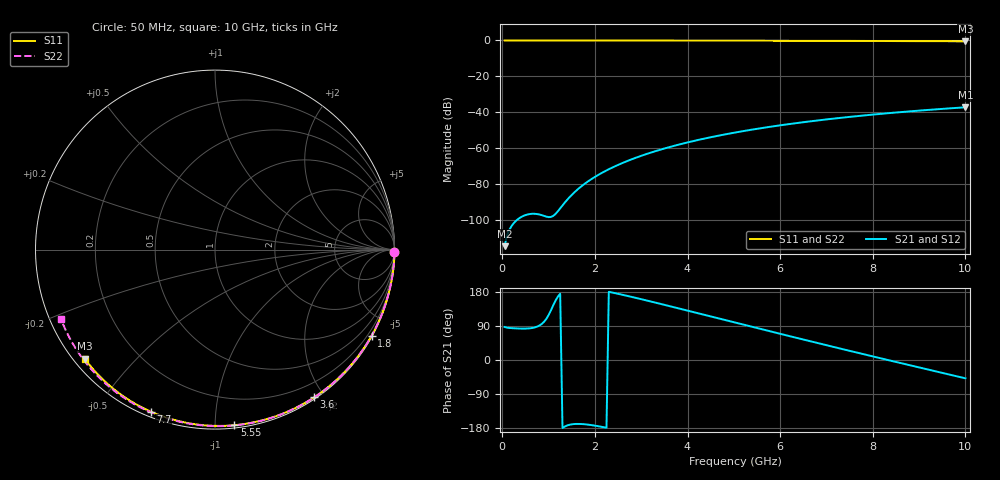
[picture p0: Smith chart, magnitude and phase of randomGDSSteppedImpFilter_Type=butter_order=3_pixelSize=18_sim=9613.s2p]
! freq	dB(S11)	phase(S11)	dB(S12)	phase(S12)
!  dB(S21)	phase(S21)	dB(S22)	phase(S22)
!S-par simulation data
#  GHz  S  DB  R 50
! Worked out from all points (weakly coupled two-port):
!   200 points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, 50 MHz to 10 GHz, reference 50 ohm
!   highest |S21| = -37.26 dB at 10 GHz (marker M1); lowest = -114.7 dB at 50 MHz (marker M2)
!   lowest |S11| = -0.5 dB at 10 GHz (marker M3), VSWR 36.66, Z = 1.54 - j18.2 ohm
!   |S11| at or under -10 dB: nowhere
!   |S22| runs from -0.5 to 0.0 dB; largest |S21 - S12| = 0
!   S11 on the Smith chart (normalised r, x): 50 MHz: open; 1.8 GHz: 0.03, -3.90; 3.6 GHz: 0.02, -1.88; 5.55 GHz: 0.02, -1.12; 7.7 GHz: 0.02, -0.68; 10 GHz: 0.03, -0.36
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0.05  -0.00 -0.8  -114.69 87.1  -114.69 87.1  -0.00 -0.9
0.45  -0.01 -7.3  -97.88 82.8  -97.88 82.8  -0.01 -8.1
0.9  -0.02 -14.5  -97.80 100.6  -97.80 100.6  -0.02 -16.1
1.3  -0.03 -20.9  -91.96 -179.5  -91.96 -179.5  -0.03 -23.2
1.75  -0.04 -28.0  -80.46 -169.3  -80.46 -169.3  -0.04 -31.1
1.8  -0.04 -28.7  -79.51 -169.9  -79.51 -169.9  -0.04 -31.9
1.95  -0.04 -31.1  -76.88 -172.2  -76.88 -172.2  -0.04 -34.5
2.1  -0.04 -33.4  -74.55 -175.3  -74.55 -175.3  -0.05 -37.1
2.3  -0.05 -36.5  -71.80 179.9  -71.80 179.9  -0.05 -40.5
2.5  -0.05 -39.6  -69.38 174.7  -69.38 174.7  -0.06 -43.9
2.9  -0.06 -45.7  -65.23 163.5  -65.23 163.5  -0.07 -50.7
3.4  -0.07 -53.2  -60.99 148.6  -60.99 148.6  -0.08 -58.9
3.6  -0.08 -56.1  -59.52 142.6  -59.52 142.6  -0.08 -62.2
4.3  -0.09 -66.3  -55.06 121.1  -55.06 121.1  -0.10 -73.4
5.05  -0.12 -76.8  -51.22 98.1  -51.22 98.1  -0.13 -85.0
5.55  -0.14 -83.7  -49.06 82.8  -49.06 82.8  -0.15 -92.5
6.1  -0.16 -91.1  -46.95 66.1  -46.95 66.1  -0.18 -100.6
6.7  -0.19 -98.9  -44.93 48.0  -44.93 48.0  -0.21 -109.3
7.7  -0.26 -111.7  -42.08 18.3  -42.08 18.3  -0.29 -123.5
8.35  -0.31 -119.8  -40.51 -0.8  -40.51 -0.8  -0.34 -132.5
9.2  -0.39 -130.3  -38.71 -25.4  -38.71 -25.4  -0.43 -144.4
10  -0.47 -140.1  -37.26 -48.4  -37.26 -48.4  -0.53 -155.6
